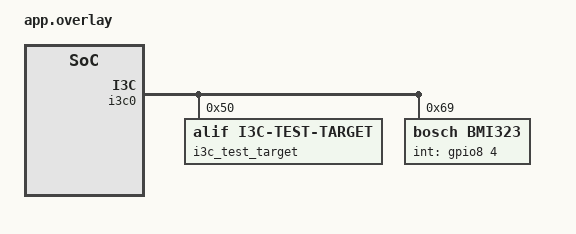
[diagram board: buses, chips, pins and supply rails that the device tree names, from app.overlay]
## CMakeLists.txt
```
# Copyright Alif Semiconductor - All Rights Reserved.
# Use, distribution and modification of this code is permitted under the
# terms stated in the Alif Semiconductor Software License Agreement
#
# You should have received a copy of the Alif Semiconductor Software
# License Agreement with this file. If not, please write to:
# contact@alifsemi.com, or visit: https://alifsemi.com/license

cmake_minimum_required(VERSION 3.20.0)
find_package(Zephyr REQUIRED HINTS $ENV{ZEPHYR_BASE})
project(i3c_controller)

target_sources(app PRIVATE
	src/main.c
	src/i3c_test_target_dev.c
	../common/i3c_test_common.c
)
target_include_directories(app PRIVATE ../common)
```

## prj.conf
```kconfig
# Controller image. The target is optional: tests that need it skip.
CONFIG_TEST=y
CONFIG_ZTEST=y
CONFIG_ZTEST_STACK_SIZE=4096
# Suite setup and teardown run on main, and one exchange uses two frame buffers.
CONFIG_MAIN_STACK_SIZE=4096

CONFIG_I3C=y
CONFIG_I3C_USE_IBI=y
CONFIG_I3C_IBI_MAX_PAYLOAD_SIZE=16
CONFIG_I3C_NUM_OF_DESC_MEM_SLABS=4
CONFIG_I3C_TEST_CONTROLLER=y

# Sensor support for BMI323 and ICM42670 tests
CONFIG_SENSOR=y
CONFIG_BMI323=y

CONFIG_LOG=y
CONFIG_LOG_DEFAULT_LEVEL=3
CONFIG_HEAP_MEM_POOL_SIZE=1024
```

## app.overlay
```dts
/*
 * Copyright Alif Semiconductor - All Rights Reserved.
 * Use, distribution and modification of this code is permitted under the
 * terms stated in the Alif Semiconductor Software License Agreement
 *
 * You should have received a copy of the Alif Semiconductor Software
 * License Agreement with this file. If not, please write to:
 * contact@alifsemi.com, or visit: https://alifsemi.com/license
 */

/ {
	chosen {
		zephyr,i3c = &i3c0;
	};
	aliases {
		i3c-test-target = &i3c_test_target;
	};
};

&i3c0 {
	status = "okay";
	od-thigh-min-ns = <41>;
	od-tlow-min-ns = <200>;

	i3c_test_target: i3c_test_target@500000000200000001 {
		compatible = "alif,i3c-test-target";
		reg = <0x50 0x0002 0x00000001>;
		assigned-address = <0x09>;
		status = "okay";
	};

	bmi323: bmi323@690000077010431000 {
		compatible = "bosch,bmi323";
		reg = <0x69 0x0770 0x10431000>;
		assigned-address = <0x0a>;
		int-gpios = <&gpio8 4 GPIO_ACTIVE_HIGH>;
		status = "okay";
	};
};

/* Board SCL/SDA recovery pins are on gpio7. */
&gpio7 {
	status = "okay";
};

&pinctrl_gpio8 {
	group0 {
		pinmux = <PIN_P8_4__GPIO>;
	};
};

&gpio8 {
	pinctrl-0 = <&pinctrl_gpio8>;
	pinctrl-names = "default";
	status = "okay";
};
```

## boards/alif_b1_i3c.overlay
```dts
/*
 * Copyright Alif Semiconductor - All Rights Reserved.
 * Use, distribution and modification of this code is permitted under the
 * terms stated in the Alif Semiconductor Software License Agreement
 *
 * You should have received a copy of the Alif Semiconductor Software
 * License Agreement with this file. If not, please write to:
 * contact@alifsemi.com, or visit: https://alifsemi.com/license
 */

/ {
	chosen {
		zephyr,i3c = &i3c0;
	};
	aliases {
		i3c-test-target = &i3c_test_target;
	};
};

&i3c0 {
	status = "okay";
	od-thigh-min-ns = <41>;
	od-tlow-min-ns = <200>;

	i3c_test_target: i3c_test_target@500000000200000001 {
		compatible = "alif,i3c-test-target";
		reg = <0x50 0x0002 0x00000001>;
		assigned-address = <0x09>;
		status = "okay";
	};

	bmi323: bmi323@690000077010431000 {
		compatible = "bosch,bmi323";
		reg = <0x69 0x0770 0x10431000>;
		assigned-address = <0x0a>;
		int-gpios = <&gpio6 6 GPIO_ACTIVE_HIGH>;
		status = "okay";
	};
};

&gpio0 {
	status = "okay";
};

&gpio6 {
	status = "okay";
};
```

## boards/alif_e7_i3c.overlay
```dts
/*
 * Copyright Alif Semiconductor - All Rights Reserved.
 * Use, distribution and modification of this code is permitted under the
 * terms stated in the Alif Semiconductor Software License Agreement
 *
 * You should have received a copy of the Alif Semiconductor Software
 * License Agreement with this file. If not, please write to:
 * contact@alifsemi.com, or visit: https://alifsemi.com/license
 */

/ {
	chosen {
		zephyr,i3c = &i3c0;
	};
	aliases {
		i3c-test-target = &i3c_test_target;
	};
};

&i3c0 {
	status = "okay";
	od-thigh-min-ns = <41>;
	od-tlow-min-ns = <200>;

	i3c_test_target: i3c_test_target@500000000200000001 {
		compatible = "alif,i3c-test-target";
		reg = <0x50 0x0002 0x00000001>;
		assigned-address = <0x09>;
		status = "okay";
	};

	bmi323: bmi323@690000077010431000 {
		compatible = "bosch,bmi323";
		reg = <0x69 0x0770 0x10431000>;
		assigned-address = <0x0a>;
		int-gpios = <&gpio8 4 GPIO_ACTIVE_HIGH>;
		status = "okay";
	};
};

/* Board SCL/SDA recovery pins are on gpio7. */
&gpio7 {
	status = "okay";
};

&gpio8 {
	status = "okay";
};
```

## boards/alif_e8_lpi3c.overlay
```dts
/*
 * Copyright Alif Semiconductor - All Rights Reserved.
 * Use, distribution and modification of this code is permitted under the
 * terms stated in the Alif Semiconductor Software License Agreement
 *
 * You should have received a copy of the Alif Semiconductor Software
 * License Agreement with this file. If not, please write to:
 * contact@alifsemi.com, or visit: https://alifsemi.com/license
 */

/ {
	chosen {
		zephyr,i3c = &lpi3c0;
	};
	aliases {
		i3c-test-target = &i3c_test_target;
	};
};

&lpi3c0 {
	status = "okay";
	od-thigh-min-ns = <41>;
	od-tlow-min-ns = <200>;

	i3c_test_target: i3c_test_target@500000000200000001 {
		compatible = "alif,i3c-test-target";
		reg = <0x50 0x0002 0x00000001>;
		assigned-address = <0x09>;
		status = "okay";
	};

	bmi323: bmi323@690000077010431000 {
		compatible = "bosch,bmi323";
		reg = <0x69 0x0770 0x10431000>;
		assigned-address = <0x0a>;
		int-gpios = <&gpio8 4 GPIO_ACTIVE_HIGH>;
		status = "okay";
	};
};

/* Board SCL/SDA recovery pins are on gpio7. */
&gpio7 {
	status = "okay";
};

&gpio8 {
	status = "okay";
};
```

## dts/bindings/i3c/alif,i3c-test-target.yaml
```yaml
# Copyright Alif Semiconductor - All Rights Reserved.
# SPDX-License-Identifier: Apache-2.0

description: I3C test target described on the controller devicetree

compatible: "alif,i3c-test-target"

include: [i3c-device.yaml]
```

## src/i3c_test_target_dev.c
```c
/* Copyright Alif Semiconductor - All Rights Reserved.
 * Use, distribution and modification of this code is permitted under the
 * terms stated in the Alif Semiconductor Software License Agreement
 *
 * You should have received a copy of the Alif Semiconductor Software
 * License Agreement with this file. If not, please write to:
 * contact@alifsemi.com, or visit: https://alifsemi.com/license
 */

#include <string.h>

#include <zephyr/device.h>
#include <zephyr/drivers/i3c.h>
#include <zephyr/kernel.h>

#define DT_DRV_COMPAT alif_i3c_test_target

#define I3C_TEST_TARGET_DEVICE(inst)                                                               \
	DEVICE_DT_INST_DEFINE(inst, NULL, NULL, NULL, NULL, POST_KERNEL,                           \
			      CONFIG_KERNEL_INIT_PRIORITY_DEVICE, NULL);

DT_INST_FOREACH_STATUS_OKAY(I3C_TEST_TARGET_DEVICE)
```
